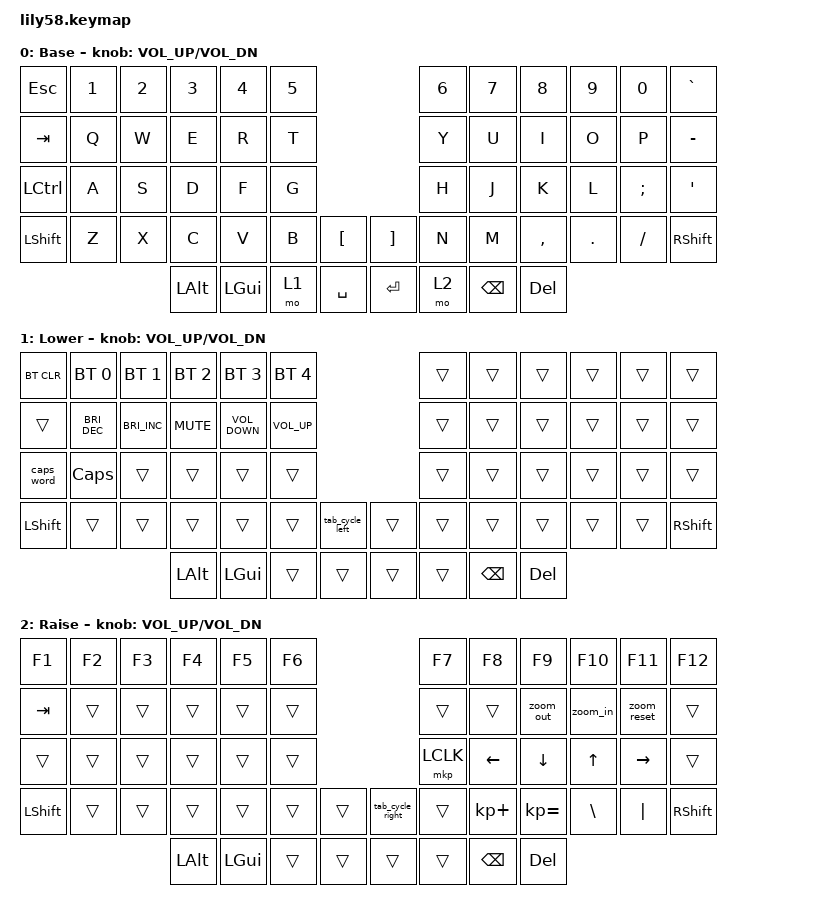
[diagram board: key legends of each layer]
/*
 * Copyright (c) 2020 The ZMK Contributors
 *
 * SPDX-License-Identifier: MIT
 */

#include <behaviors.dtsi>
#include <dt-bindings/zmk/bt.h>
#include <dt-bindings/zmk/keys.h>
#include <dt-bindings/zmk/pointing.h>

/ {
    macros {
        tab_cycle_left: tab_cycle_left {
            compatible = "zmk,behavior-macro";
            #binding-cells = <0>;
            bindings =
                <&macro_press>,
                <&kp LGUI>,
                <&macro_press>,
                <&kp LSHFT>,
                <&macro_tap>,
                <&kp LBKT>,
                <&macro_release>,
                <&kp LSHFT>,
                <&macro_release>,
                <&kp LGUI>;
        };

        tab_cycle_right: tab_cycle_right {
            compatible = "zmk,behavior-macro";
            #binding-cells = <0>;
            bindings =
                <&macro_press>,
                <&kp LGUI>,
                <&macro_press>,
                <&kp LSHFT>,
                <&macro_tap>,
                <&kp RBKT>,
                <&macro_release>,
                <&kp LSHFT>,
                <&macro_release>,
                <&kp LGUI>;
        };

        zoom_reset: zoom_reset {
            compatible = "zmk,behavior-macro";
            #binding-cells = <0>;
            bindings =
                <&macro_press>,
                <&kp LGUI>,
                <&macro_tap>,
                <&kp N0>,
                <&macro_release>,
                <&kp LGUI>;

            label = "ZOOM_RESET";
        };

        zoom_out: zoom_out {
            compatible = "zmk,behavior-macro";
            #binding-cells = <0>;
            bindings =
                <&macro_press>,
                <&kp LGUI>,
                <&macro_tap>,
                <&kp MINUS>,
                <&macro_release>,
                <&kp LGUI>;

            label = "ZOOM_OUT";
        };

        zoom_in: zoom_in {
            compatible = "zmk,behavior-macro";
            #binding-cells = <0>;
            bindings =
                <&macro_press>,
                <&kp LGUI>,
                <&macro_tap>,
                <&kp EQUAL>,
                <&macro_release>,
                <&kp LGUI>;

            label = "ZOOM_IN";
        };
    };

    keymap {
        compatible = "zmk,keymap";

        default_layer {
            // ------------------------------------------------------------------------------------------------------------
            // |  ESC  |  1  |  2  |  3   |  4   |  5   |                   |  6   |  7    |  8    |  9   |   0   |   `   |
            // |  TAB  |  Q  |  W  |  E   |  R   |  T   |                   |  Y   |  U    |  I    |  O   |   P   |   -   |
            // |  CTRL |  A  |  S  |  D   |  F   |  G   |                   |  H   |  J    |  K    |  L   |   ;   |   '   |
            // | SHIFT |  Z  |  X  |  C   |  V   |  B   |   "["  |  |  "]"  |  N   |  M    |  ,    |  .   |   /   | SHIFT |
            //                     | ALT  | GUI  | LOWER|  SPACE |  | ENTER | RAISE| BSPC  | GUI   |

            display-name = "Base";
            bindings = <
&kp ESC    &kp N1  &kp N2  &kp N3    &kp N4    &kp N5                         &kp N6  &kp N7         &kp N8      &kp N9   &kp N0    &kp GRAVE
&kp TAB    &kp Q   &kp W   &kp E     &kp R     &kp T                          &kp Y   &kp U          &kp I       &kp O    &kp P     &kp MINUS
&kp LCTRL  &kp A   &kp S   &kp D     &kp F     &kp G                          &kp H   &kp J          &kp K       &kp L    &kp SEMI  &kp SQT
&kp LSHFT  &kp Z   &kp X   &kp C     &kp V     &kp B   &kp LBKT     &kp RBKT  &kp N   &kp M          &kp COMMA   &kp DOT  &kp FSLH  &kp RSHFT
                           &kp LALT  &kp LGUI  &mo 1   &kp SPACE    &kp RET   &mo 2   &kp BACKSPACE  &kp DELETE
            >;

            sensor-bindings = <&inc_dec_kp C_VOL_UP C_VOL_DN>;
        };

        lower_layer {
            // ------------------------------------------------------------------------------------------------------------
            // | BTCLR | BT1 | BT2 |  BT3 |  BT4 |  BT5 |                   |      |       |       |      |       |       |
            // |  F1   |  F2 |  F3 |  F4  |  F5  |  F6  |                   |  F7  |  F8   |  F9   |  F10 |  F11  |  F12  |
            // |   `   |  !  |  @  |  #   |  $   |  %   |                   |  ^   |  &    |  *    |  (   |   )   |   ~   |
            // |       |     |     |      |      |      |        |  |       |      |  _    |  +    |  {   |   }   |  "|"  |
            //                     |      |      |      |        |  |       |      |       |       |

            display-name = "Lower";
            bindings = <
&bt BT_CLR  &bt BT_SEL 0          &bt BT_SEL 1          &bt BT_SEL 2  &bt BT_SEL 3       &bt BT_SEL 4                                &trans  &trans         &trans      &trans  &trans  &trans
&trans      &kp C_BRIGHTNESS_DEC  &kp C_BRIGHTNESS_INC  &kp C_MUTE    &kp C_VOLUME_DOWN  &kp C_VOLUME_UP                             &trans  &trans         &trans      &trans  &trans  &trans
&caps_word  &kp CAPS              &trans                &trans        &trans             &trans                                      &trans  &trans         &trans      &trans  &trans  &trans
&kp LSHFT   &trans                &trans                &trans        &trans             &trans           &tab_cycle_left    &trans  &trans  &trans         &trans      &trans  &trans  &kp RSHFT
                                                        &kp LALT      &kp LGUI           &trans           &trans             &trans  &trans  &kp BACKSPACE  &kp DELETE
            >;

            sensor-bindings = <&inc_dec_kp C_VOL_UP C_VOL_DN>;
        };

        raise_layer {
            // ------------------------------------------------------------------------------------------------------------
            // |       |     |     |      |      |      |                   |      |       |       |      |       |       |
            // |   `   |  1  |  2  |  3   |  4   |  5   |                   |  6   |   7   |   8   |  9   |   0   |       |
            // |   F1  |  F2 |  F3 |  F4  |  F5  |  F6  |                   |      |   <-  |   v   |  ^   |  ->   |       |
            // |   F7  |  F8 |  F9 |  F10 |  F11 |  F12 |        |  |       |  +   |   -   |   =   |  [   |   ]   |   \   |
            //                     |      |      |      |        |  |       |      |       |       |

            display-name = "Raise";
            bindings = <
&kp F1     &kp F2  &kp F3  &kp F4    &kp F5    &kp F6                              &kp F7     &kp F8         &kp F9        &kp F10   &kp F11      &kp F12
&kp TAB    &trans  &trans  &trans    &trans    &trans                              &trans     &trans         &zoom_out     &zoom_in  &zoom_reset  &trans
&trans     &trans  &trans  &trans    &trans    &trans                              &mkp LCLK  &kp LEFT       &kp DOWN      &kp UP    &kp RIGHT    &trans
&kp LSHFT  &trans  &trans  &trans    &trans    &trans  &trans    &tab_cycle_right  &trans     &kp KP_PLUS    &kp KP_EQUAL  &kp BSLH  &kp PIPE     &kp RSHFT
                           &kp LALT  &kp LGUI  &trans  &trans    &trans            &trans     &kp BACKSPACE  &kp DELETE
            >;

            sensor-bindings = <&inc_dec_kp C_VOL_UP C_VOL_DN>;
        };

        extra_1 { status = "reserved"; };

        extra_2 { status = "reserved"; };

        extra_3 { status = "reserved"; };
    };
};
